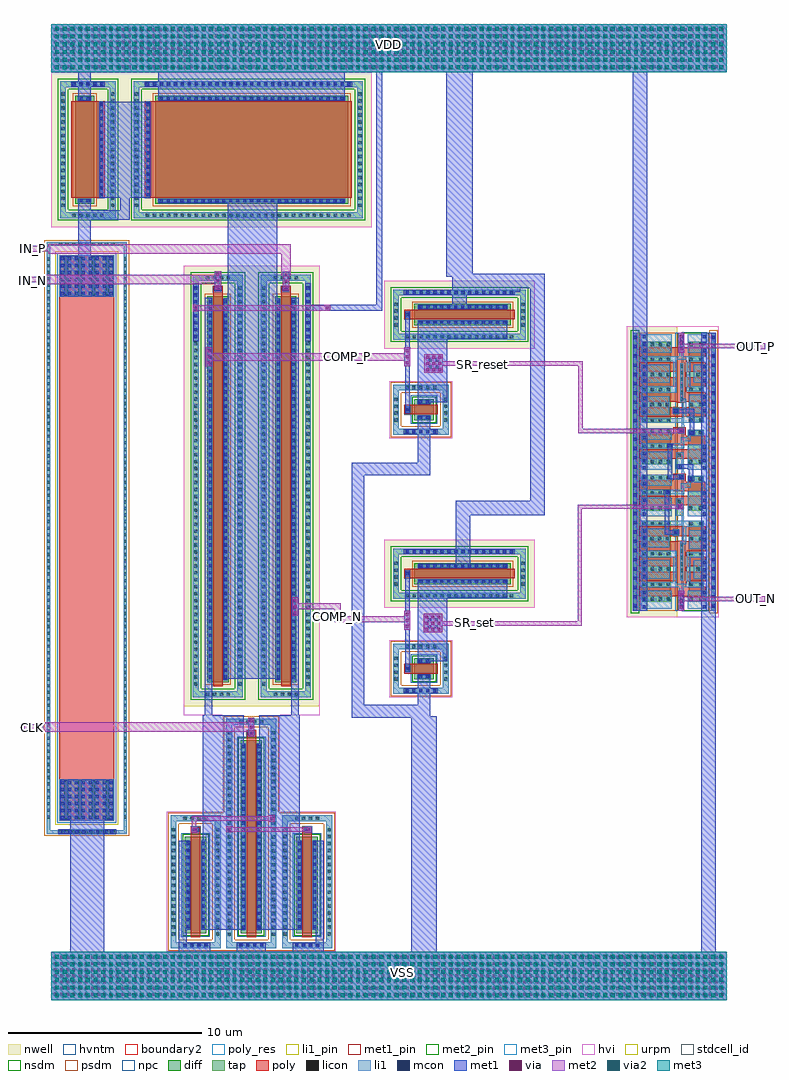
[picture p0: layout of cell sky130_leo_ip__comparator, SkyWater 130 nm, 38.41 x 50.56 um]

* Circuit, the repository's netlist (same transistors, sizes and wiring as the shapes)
* NGSPICE file created from sky130_leo_ip__comparator.ext - technology: sky130A

.subckt pfet a_60_n40# w_n242_n247# a_160_0# a_0_0#
X0 a_160_0# a_60_n40# a_0_0# w_n242_n247# sky130_fd_pr__pfet_g5v0d10v5 ad=6 pd=40.6 as=6 ps=40.6 w=20 l=0.5
.ends

.subckt sky130_fd_sc_hvl__buf_4 A X VPB VPWR VNB VGND
X0 a_149_81# A VPWR VPB sky130_fd_pr__pfet_g5v0d10v5 ad=0.4275 pd=3.57 as=0.21 ps=1.78 w=1.5 l=0.5
X1 VGND a_149_81# X VNB sky130_fd_pr__nfet_g5v0d10v5 ad=0.105 pd=1.03 as=0.105 ps=1.03 w=0.75 l=0.5
X2 X a_149_81# VGND VNB sky130_fd_pr__nfet_g5v0d10v5 ad=0.105 pd=1.03 as=0.21375 ps=2.07 w=0.75 l=0.5
X3 X a_149_81# VGND VNB sky130_fd_pr__nfet_g5v0d10v5 ad=0.105 pd=1.03 as=0.105 ps=1.03 w=0.75 l=0.5
X4 VPWR a_149_81# X VPB sky130_fd_pr__pfet_g5v0d10v5 ad=0.21 pd=1.78 as=0.21 ps=1.78 w=1.5 l=0.5
X5 a_149_81# A VGND VNB sky130_fd_pr__nfet_g5v0d10v5 ad=0.21375 pd=2.07 as=0.105 ps=1.03 w=0.75 l=0.5
X6 VPWR a_149_81# X VPB sky130_fd_pr__pfet_g5v0d10v5 ad=0.21 pd=1.78 as=0.21 ps=1.78 w=1.5 l=0.5
X7 X a_149_81# VPWR VPB sky130_fd_pr__pfet_g5v0d10v5 ad=0.21 pd=1.78 as=0.4275 ps=3.57 w=1.5 l=0.5
X8 X a_149_81# VPWR VPB sky130_fd_pr__pfet_g5v0d10v5 ad=0.21 pd=1.78 as=0.21 ps=1.78 w=1.5 l=0.5
X9 VGND a_149_81# X VNB sky130_fd_pr__nfet_g5v0d10v5 ad=0.105 pd=1.03 as=0.105 ps=1.03 w=0.75 l=0.5
.ends

.subckt res_poly$1 a_n285_2496# a_n415_n3062# a_n285_n2932#
X0 a_n285_2496# a_n285_n2932# a_n415_n3062# sky130_fd_pr__res_xhigh_po_2p85 l=25.12
.ends

.subckt pfet$10 a_60_n40# w_n242_n247# a_1060_0# a_0_0#
X0 a_1060_0# a_60_n40# a_0_0# w_n242_n247# sky130_fd_pr__pfet_g5v0d10v5 ad=3 pd=20.6 as=3 ps=20.6 w=10 l=5
.ends

.subckt nfet$5 a_60_n40# a_160_0# a_0_0# a_n149_n154#
X0 a_160_0# a_60_n40# a_0_0# a_n149_n154# sky130_fd_pr__nfet_g5v0d10v5 ad=0.3 pd=2.6 as=0.3 ps=2.6 w=1 l=0.5
.ends

.subckt pfet$9 a_60_n40# w_n242_n247# a_1060_0# a_0_0#
X0 a_1060_0# a_60_n40# a_0_0# w_n242_n247# sky130_fd_pr__pfet_g5v0d10v5 ad=0.3 pd=2.6 as=0.3 ps=2.6 w=1 l=5
.ends

.subckt sky130_fd_sc_hvl__buf_4$VAR1 A X VPB VPWR VNB VGND
X0 a_149_81# A VPWR VPB sky130_fd_pr__pfet_g5v0d10v5 ad=0.4275 pd=3.57 as=0.21 ps=1.78 w=1.5 l=0.5
X1 VGND a_149_81# X VNB sky130_fd_pr__nfet_g5v0d10v5 ad=0.105 pd=1.03 as=0.105 ps=1.03 w=0.75 l=0.5
X2 X a_149_81# VGND VNB sky130_fd_pr__nfet_g5v0d10v5 ad=0.105 pd=1.03 as=0.21375 ps=2.07 w=0.75 l=0.5
X3 X a_149_81# VGND VNB sky130_fd_pr__nfet_g5v0d10v5 ad=0.105 pd=1.03 as=0.105 ps=1.03 w=0.75 l=0.5
X4 VPWR a_149_81# X VPB sky130_fd_pr__pfet_g5v0d10v5 ad=0.21 pd=1.78 as=0.21 ps=1.78 w=1.5 l=0.5
X5 a_149_81# A VGND VNB sky130_fd_pr__nfet_g5v0d10v5 ad=0.21375 pd=2.07 as=0.105 ps=1.03 w=0.75 l=0.5
X6 VPWR a_149_81# X VPB sky130_fd_pr__pfet_g5v0d10v5 ad=0.21 pd=1.78 as=0.21 ps=1.78 w=1.5 l=0.5
X7 X a_149_81# VPWR VPB sky130_fd_pr__pfet_g5v0d10v5 ad=0.21 pd=1.78 as=0.4275 ps=3.57 w=1.5 l=0.5
X8 X a_149_81# VPWR VPB sky130_fd_pr__pfet_g5v0d10v5 ad=0.21 pd=1.78 as=0.21 ps=1.78 w=1.5 l=0.5
X9 VGND a_149_81# X VNB sky130_fd_pr__nfet_g5v0d10v5 ad=0.105 pd=1.03 as=0.105 ps=1.03 w=0.75 l=0.5
.ends

.subckt nfet a_60_n40# a_160_0# a_0_0# a_n149_n154#
X0 a_160_0# a_60_n40# a_0_0# a_n149_n154# sky130_fd_pr__nfet_g5v0d10v5 ad=3 pd=20.6 as=3 ps=20.6 w=10 l=0.5
.ends

.subckt pfet$5 a_60_n40# w_n242_n247# a_160_0# a_0_0#
X0 a_160_0# a_60_n40# a_0_0# w_n242_n247# sky130_fd_pr__pfet_g5v0d10v5 ad=1.5 pd=10.6 as=1.5 ps=10.6 w=5 l=0.5
.ends

.subckt nfet$4 a_60_n40# a_160_0# a_0_0# a_n149_n154#
X0 a_160_0# a_60_n40# a_0_0# a_n149_n154# sky130_fd_pr__nfet_g5v0d10v5 ad=1.5 pd=10.6 as=1.5 ps=10.6 w=5 l=0.5
.ends

.subckt sky130_fd_sc_hvl__nand2_1 B Y A VPB VPWR VNB VGND
X0 a_233_111# B VGND VNB sky130_fd_pr__nfet_g5v0d10v5 ad=0.07875 pd=0.96 as=0.21375 ps=2.07 w=0.75 l=0.5
X1 Y A a_233_111# VNB sky130_fd_pr__nfet_g5v0d10v5 ad=0.21375 pd=2.07 as=0.07875 ps=0.96 w=0.75 l=0.5
X2 VPWR A Y VPB sky130_fd_pr__pfet_g5v0d10v5 ad=0.4275 pd=3.57 as=0.21 ps=1.78 w=1.5 l=0.5
X3 Y B VPWR VPB sky130_fd_pr__pfet_g5v0d10v5 ad=0.21 pd=1.78 as=0.4275 ps=3.57 w=1.5 l=0.5
.ends

.subckt sky130_leo_ip__comparator VDD IN_P OUT_P IN_N VSS CLK OUT_N
Xpfet_0 IN_P VDD COMP_N m1_1831_3328# pfet
Xpfet_1 IN_N VDD m1_1831_3328# m1_1572_726# pfet
Xsky130_fd_sc_hvl__buf_4_0 sky130_fd_sc_hvl__buf_4_0/A OUT_P VDD VDD VSS VSS sky130_fd_sc_hvl__buf_4
Xres_poly$1_0 m1_282_7668# VSS VSS res_poly$1
Xpfet$10_0 m1_282_7668# VDD VDD m1_1831_3328# pfet$10
Xnfet$5_0 COMP_N SR_set VSS VSS nfet$5
Xnfet$5_1 m1_1572_726# SR_reset VSS VSS nfet$5
Xpfet$9_0 m1_282_7668# VDD m1_282_7668# VDD pfet$9
Xsky130_fd_sc_hvl__buf_4$VAR1_0 sky130_fd_sc_hvl__nand2_1_1/B OUT_N VDD VDD VSS VSS
+ sky130_fd_sc_hvl__buf_4$VAR1
Xnfet_0 CLK COMP_N m1_1572_726# VSS nfet
Xpfet$5_0 COMP_N VDD VDD SR_set pfet$5
Xpfet$5_1 m1_1572_726# VDD VDD SR_reset pfet$5
Xnfet$4_0 COMP_N m1_1572_726# VSS VSS nfet$4
Xsky130_fd_sc_hvl__nand2_1_0 SR_set sky130_fd_sc_hvl__nand2_1_1/B sky130_fd_sc_hvl__buf_4_0/A
+ VDD VDD VSS VSS sky130_fd_sc_hvl__nand2_1
Xnfet$4_1 m1_1572_726# VSS COMP_N VSS nfet$4
Xsky130_fd_sc_hvl__nand2_1_1 sky130_fd_sc_hvl__nand2_1_1/B sky130_fd_sc_hvl__buf_4_0/A
+ SR_reset VDD VDD VSS VSS sky130_fd_sc_hvl__nand2_1
.ends

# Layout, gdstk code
from math import pi, radians
import gdstk
lib = gdstk.Library(unit=1e-6, precision=1e-09)
def R(c, l, rs):  # rectangles x0, y0, x1, y1
    for r in rs: c.add(gdstk.rectangle(r[:2], r[2:], *l))
def A(c, l, x, y, w, h, nx, ny, dx, dy):  # array of equal rectangles
    R(c, l, [(x+i*dx, y+j*dy, x+i*dx+w, y+j*dy+h) for i in range(nx) for j in range(ny)])
def P(c, l, *ps):  # polygons
    for p in ps: c.add(gdstk.Polygon(p, *l))
nwell = (64, 20)
diff = (65, 20)
tap = (65, 44)
poly_res = (66, 13)
poly = (66, 20)
licon = (66, 44)
li1_pin = (67, 16)
li1 = (67, 20)
mcon = (67, 44)
met1_pin = (68, 16)
met1 = (68, 20)
via = (68, 44)
met2_pin = (69, 16)
met2 = (69, 20)
via2 = (69, 44)
met3_pin = (70, 16)
met3 = (70, 20)
hvi = (75, 20)
urpm = (79, 20)
stdcell_id = (81, 4)
nsdm = (93, 44)
psdm = (94, 20)
npc = (95, 20)
hvntm = (125, 20)
boundary2 = (236, 0)

sky130_fd_sc_hvl__nand2_ = lib.new_cell('sky130_fd_sc_hvl__nand2_1')
R(sky130_fd_sc_hvl__nand2_, nwell, [(-0.33,1.885,2.73,4.485)])
R(sky130_fd_sc_hvl__nand2_, diff, [(0.38,0.555,2.16,1.305), (0.38,2.215,2.23,3.715)])
R(sky130_fd_sc_hvl__nand2_, tap, [(0,-0.085,2.4,0.085), (0,3.985,2.4,4.155)])
R(sky130_fd_sc_hvl__nand2_, poly, [(0.665,0.425,1.165,3.845)])
P(sky130_fd_sc_hvl__nand2_, poly, [(1.375,0.425),(1.375,2.085),(1.445,2.085),(1.445,3.845),(1.945,3.845),(1.945,2.085),(2.295,2.085),(2.295,1.435),(1.875,1.435),(1.875,0.425)])
A(sky130_fd_sc_hvl__nand2_, licon, 0.155, -0.085, 0.17, 0.17, 5, 2, 0.48, 4.07)
A(sky130_fd_sc_hvl__nand2_, licon, 0.44, 2.255, 0.17, 0.17, 3, 2, 0.78, 0.415)
A(sky130_fd_sc_hvl__nand2_, licon, 0.44, 3.09, 0.17, 0.17, 3, 2, 0.78, 0.415)
R(sky130_fd_sc_hvl__nand2_, licon, [(0.44,0.595,0.61,0.765), (1.93,0.595,2.1,0.765), (0.44,1.095,0.61,1.265), (1.93,1.095,2.1,1.265), (2.025,1.605,2.195,1.775), (0.765,1.685,0.935,1.855)])
R(sky130_fd_sc_hvl__nand2_, li1_pin, [(1.595,1.21,1.765,1.38), (0.155,1.58,0.325,1.75), (0.635,1.58,0.805,1.75), (2.075,1.58,2.245,1.75)])
R(sky130_fd_sc_hvl__nand2_, li1, [(0,-0.085,2.4,0.085), (0.09,0.365,1.4,1.345), (1.975,1.525,2.275,1.855), (0.125,1.55,1.015,1.935), (0.09,2.175,1.04,3.755), (1.66,2.175,2.25,3.755), (0,3.985,2.4,4.155)])
P(sky130_fd_sc_hvl__nand2_, li1, [(1.85,0.515),(1.85,1.175),(1.58,1.175),(1.58,1.525),(1.22,1.525),(1.22,3.755),(1.47,3.755),(1.47,1.695),(1.795,1.695),(1.795,1.345),(2.18,1.345),(2.18,0.515)])
A(sky130_fd_sc_hvl__nand2_, mcon, 0.12, 0.395, 0.17, 0.17, 4, 1, 0.36, 0)
A(sky130_fd_sc_hvl__nand2_, mcon, 0.12, 3.505, 0.17, 0.17, 3, 1, 0.36, 0)
R(sky130_fd_sc_hvl__nand2_, mcon, [(0.155,-0.085,0.325,0.085), (0.155,-0.085,0.325,0.085), (0.635,-0.085,0.805,0.085), (0.635,-0.085,0.805,0.085), (1.115,-0.085,1.285,0.085), (1.115,-0.085,1.285,0.085), (1.595,-0.085,1.765,0.085), (1.595,-0.085,1.765,0.085), (2.075,-0.085,2.245,0.085), (2.075,-0.085,2.245,0.085), (1.69,3.505,1.86,3.675), (2.05,3.505,2.22,3.675), (0.155,3.985,0.325,4.155), (0.155,3.985,0.325,4.155), (0.635,3.985,0.805,4.155), (0.635,3.985,0.805,4.155), (1.115,3.985,1.285,4.155), (1.115,3.985,1.285,4.155), (1.595,3.985,1.765,4.155), (1.595,3.985,1.765,4.155), (2.075,3.985,2.245,4.155), (2.075,3.985,2.245,4.155)])
R(sky130_fd_sc_hvl__nand2_, met1_pin, [(0,0,2.4,0.115), (0,0.255,2.4,0.625), (0,3.445,2.4,3.815), (0,3.955,2.4,4.07)])
R(sky130_fd_sc_hvl__nand2_, met1, [(0,-0.115,2.4,0.115), (0,0.255,2.4,0.625), (0,3.445,2.4,3.815), (0,3.955,2.4,4.185)])
R(sky130_fd_sc_hvl__nand2_, hvi, [(-0.33,-0.265,2.73,4.485)])
R(sky130_fd_sc_hvl__nand2_, stdcell_id, [(0,0,2.4,4.07)])
R(sky130_fd_sc_hvl__nand2_, nsdm, [(0,0.215,2.4,1.885), (-0.13,3.855,2.53,4.285), (0,3.855,2.4,4.07)])
R(sky130_fd_sc_hvl__nand2_, psdm, [(-0.13,-0.215,2.53,0.215)])
P(sky130_fd_sc_hvl__nand2_, psdm, [(0,1.885),(0,3.855),(2.4,3.855),(2.4,1.885),(1.045,1.885),(1.045,1.965),(0.655,1.965),(0.655,1.885)])
P(sky130_fd_sc_hvl__nand2_, npc, [(1.925,1.505),(1.925,1.545),(0,1.545),(0,1.97),(2.4,1.97),(2.4,1.505)])
R(sky130_fd_sc_hvl__nand2_, hvntm, [(-0.035,0.35,2.435,1.64)])
R(sky130_fd_sc_hvl__nand2_, boundary2, [(0,0,2.4,4.07)])
sky130_fd_sc_hvl__nand2_.add(gdstk.Label('B', (0.72,1.665), layer=67, texttype=5))
sky130_fd_sc_hvl__nand2_.add(gdstk.Label('B', (0.24,1.665), layer=67, texttype=5))
sky130_fd_sc_hvl__nand2_.add(gdstk.Label('Y', (1.68,1.295), layer=67, texttype=5))
sky130_fd_sc_hvl__nand2_.add(gdstk.Label('A', (2.16,1.665), layer=67, texttype=5))
sky130_fd_sc_hvl__nand2_.add(gdstk.Label('VPB', (1.2,4.015), layer=68, texttype=5))
sky130_fd_sc_hvl__nand2_.add(gdstk.Label('VPWR', (1.2,3.63), layer=68, texttype=5))
sky130_fd_sc_hvl__nand2_.add(gdstk.Label('VNB', (1.2,0.06), layer=68, texttype=5))
sky130_fd_sc_hvl__nand2_.add(gdstk.Label('VGND', (1.2,0.44), layer=68, texttype=5))
sky130_fd_sc_hvl__nand2_.add(gdstk.Label('nand2_1', (0,0), layer=83, texttype=44))

sky130_fd_sc_hvl__buf_4_ = lib.new_cell('sky130_fd_sc_hvl__buf_4$VAR1')
R(sky130_fd_sc_hvl__buf_4_, nwell, [(-0.33,1.885,5.13,4.485)])
R(sky130_fd_sc_hvl__buf_4_, diff, [(0.46,0.535,4.65,1.285), (0.46,2.215,4.65,3.715)])
R(sky130_fd_sc_hvl__buf_4_, tap, [(0,-0.085,4.8,0.085), (0,3.985,4.8,4.155)])
R(sky130_fd_sc_hvl__buf_4_, poly, [(3.865,0.405,4.365,3.845)])
P(sky130_fd_sc_hvl__buf_4_, poly, [(0.745,0.405),(0.745,3.845),(1.245,3.845),(1.245,1.915),(1.525,1.915),(1.525,3.845),(2.025,3.845),(2.025,1.915),(2.305,1.915),(2.305,3.845),(2.805,3.845),(2.805,1.915),(3.085,1.915),(3.085,3.845),(3.585,3.845),(3.585,1.915),(3.62,1.915),(3.62,1.415),(3.585,1.415),(3.585,0.405),(3.085,0.405),(3.085,1.415),(2.805,1.415),(2.805,0.405),(2.305,0.405),(2.305,1.415),(2.025,1.415),(2.025,0.405),(1.525,0.405),(1.525,1.415),(1.245,1.415),(1.245,0.405)])
A(sky130_fd_sc_hvl__buf_4_, licon, 0.155, -0.085, 0.17, 0.17, 10, 2, 0.48, 4.07)
A(sky130_fd_sc_hvl__buf_4_, licon, 2.86, 0.575, 0.17, 0.17, 3, 2, 0.78, 0.5)
A(sky130_fd_sc_hvl__buf_4_, licon, 1.65, 1.555, 0.17, 0.17, 6, 1, 0.34, 0)
A(sky130_fd_sc_hvl__buf_4_, licon, 0.52, 2.255, 0.17, 0.17, 4, 2, 0.78, 0.415)
A(sky130_fd_sc_hvl__buf_4_, licon, 0.52, 3.09, 0.17, 0.17, 4, 1, 0.78, 0)
A(sky130_fd_sc_hvl__buf_4_, licon, 0.52, 3.505, 0.17, 0.17, 6, 1, 0.78, 0)
R(sky130_fd_sc_hvl__buf_4_, licon, [(0.52,0.575,0.69,0.745), (1.3,0.575,1.47,0.745), (2.08,0.715,2.25,0.885), (0.52,1.075,0.69,1.245), (1.3,1.075,1.47,1.245), (3.965,1.805,4.135,1.975), (4.42,2.255,4.59,2.425), (3.64,2.3,3.81,2.47), (4.42,2.67,4.59,2.84), (3.64,2.7,3.81,2.87), (4.42,3.09,4.59,3.26), (3.64,3.105,3.81,3.275)])
R(sky130_fd_sc_hvl__buf_4_, li1_pin, [(0.155,1.58,0.325,1.75), (0.635,1.58,0.805,1.75), (3.995,1.95,4.165,2.12)])
R(sky130_fd_sc_hvl__buf_4_, li1, [(0,-0.085,4.8,0.085), (0.09,0.365,1.04,1.325), (1.65,0.365,2.6,1.025), (3.21,0.365,4.16,1.245), (3.885,1.775,4.215,2.12), (0.09,2.175,1.04,3.755), (1.65,2.255,2.6,3.755), (3.29,2.3,4.24,3.755), (0,3.985,4.8,4.155)])
P(sky130_fd_sc_hvl__buf_4_, li1, [(4.34,0.495),(4.34,1.425),(3.43,1.425),(3.43,1.555),(1.57,1.555),(1.57,1.725),(3.6,1.725),(3.6,1.595),(4.42,1.595),(4.42,3.755),(4.67,3.755),(4.67,0.495)],
  [(1.22,0.495),(1.22,1.55),(0.125,1.55),(0.125,1.78),(1.22,1.78),(1.22,3.755),(1.47,3.755),(1.47,2.075),(2.78,2.075),(2.78,3.755),(3.11,3.755),(3.11,1.905),(1.39,1.905),(1.39,1.375),(3.03,1.375),(3.03,0.495),(2.78,0.495),(2.78,1.205),(1.47,1.205),(1.47,0.495)])
A(sky130_fd_sc_hvl__buf_4_, mcon, 0.12, 0.395, 0.17, 0.17, 3, 2, 0.36, 3.11)
A(sky130_fd_sc_hvl__buf_4_, mcon, 1.68, 0.395, 0.17, 0.17, 3, 2, 0.36, 3.11)
A(sky130_fd_sc_hvl__buf_4_, mcon, 3.24, 0.395, 0.17, 0.17, 3, 1, 0.36, 0)
A(sky130_fd_sc_hvl__buf_4_, mcon, 3.32, 3.505, 0.17, 0.17, 3, 1, 0.36, 0)
R(sky130_fd_sc_hvl__buf_4_, mcon, [(0.155,-0.085,0.325,0.085), (0.155,-0.085,0.325,0.085), (0.635,-0.085,0.805,0.085), (0.635,-0.085,0.805,0.085), (1.115,-0.085,1.285,0.085), (1.115,-0.085,1.285,0.085), (1.595,-0.085,1.765,0.085), (1.595,-0.085,1.765,0.085), (2.075,-0.085,2.245,0.085), (2.075,-0.085,2.245,0.085), (2.555,-0.085,2.725,0.085), (2.555,-0.085,2.725,0.085), (3.035,-0.085,3.205,0.085), (3.035,-0.085,3.205,0.085), (3.515,-0.085,3.685,0.085), (3.515,-0.085,3.685,0.085), (3.995,-0.085,4.165,0.085), (3.995,-0.085,4.165,0.085), (4.475,-0.085,4.645,0.085), (4.475,-0.085,4.645,0.085), (0.155,3.985,0.325,4.155), (0.155,3.985,0.325,4.155), (0.635,3.985,0.805,4.155), (0.635,3.985,0.805,4.155), (1.115,3.985,1.285,4.155), (1.115,3.985,1.285,4.155), (1.595,3.985,1.765,4.155), (1.595,3.985,1.765,4.155), (2.075,3.985,2.245,4.155), (2.075,3.985,2.245,4.155), (2.555,3.985,2.725,4.155), (2.555,3.985,2.725,4.155), (3.035,3.985,3.205,4.155), (3.035,3.985,3.205,4.155), (3.515,3.985,3.685,4.155), (3.515,3.985,3.685,4.155), (3.995,3.985,4.165,4.155), (3.995,3.985,4.165,4.155), (4.475,3.985,4.645,4.155), (4.475,3.985,4.645,4.155)])
R(sky130_fd_sc_hvl__buf_4_, met1_pin, [(0,0,4.8,0.115), (0,0.255,4.8,0.625), (0,3.445,4.8,3.815), (0,3.955,4.8,4.07)])
R(sky130_fd_sc_hvl__buf_4_, met1, [(0,-0.115,4.8,0.115), (0,0.255,4.8,0.625), (0,3.445,4.8,3.815), (0,3.955,4.8,4.185)])
R(sky130_fd_sc_hvl__buf_4_, hvi, [(-0.33,-0.265,5.13,4.485)])
R(sky130_fd_sc_hvl__buf_4_, stdcell_id, [(0,0,4.8,4.07)])
R(sky130_fd_sc_hvl__buf_4_, nsdm, [(0,0.215,4.8,1.885), (-0.13,3.855,4.93,4.285), (0,3.855,4.8,4.07)])
R(sky130_fd_sc_hvl__buf_4_, psdm, [(-0.13,-0.215,4.93,0.215)])
P(sky130_fd_sc_hvl__buf_4_, psdm, [(0,1.885),(0,3.855),(4.8,3.855),(4.8,1.885),(4.245,1.885),(4.245,2.085),(3.855,2.085),(3.855,1.885)])
P(sky130_fd_sc_hvl__buf_4_, npc, [(1.55,1.455),(1.55,1.545),(0,1.545),(0,1.97),(3.865,1.97),(3.865,2.075),(4.235,2.075),(4.235,1.97),(4.8,1.97),(4.8,1.545),(3.62,1.545),(3.62,1.455)])
R(sky130_fd_sc_hvl__buf_4_, hvntm, [(-0.035,0.35,4.835,1.64)])
R(sky130_fd_sc_hvl__buf_4_, boundary2, [(0,0,4.8,4.07)])
sky130_fd_sc_hvl__buf_4_.add(gdstk.Label('A', (4.08,2.035), layer=67, texttype=5))
sky130_fd_sc_hvl__buf_4_.add(gdstk.Label('X', (0.72,1.665), layer=67, texttype=5))
sky130_fd_sc_hvl__buf_4_.add(gdstk.Label('X', (0.24,1.665), layer=67, texttype=5))
sky130_fd_sc_hvl__buf_4_.add(gdstk.Label('VPB', (2.4,4.015), layer=68, texttype=5))
sky130_fd_sc_hvl__buf_4_.add(gdstk.Label('VPWR', (2.4,3.63), layer=68, texttype=5))
sky130_fd_sc_hvl__buf_4_.add(gdstk.Label('VNB', (2.4,0.06), layer=68, texttype=5))
sky130_fd_sc_hvl__buf_4_.add(gdstk.Label('VGND', (2.4,0.44), layer=68, texttype=5))
sky130_fd_sc_hvl__buf_4_.add(gdstk.Label('buf_4', (0,0), layer=83, texttype=44))

sky130_fd_sc_hvl__buf_4 = lib.new_cell('sky130_fd_sc_hvl__buf_4')
R(sky130_fd_sc_hvl__buf_4, nwell, [(-0.33,1.885,5.13,4.485)])
R(sky130_fd_sc_hvl__buf_4, diff, [(0.46,0.535,4.65,1.285), (0.46,2.215,4.65,3.715)])
R(sky130_fd_sc_hvl__buf_4, tap, [(0,-0.085,4.8,0.085), (0,3.985,4.8,4.155)])
R(sky130_fd_sc_hvl__buf_4, poly, [(3.865,0.405,4.365,3.845)])
P(sky130_fd_sc_hvl__buf_4, poly, [(0.745,0.405),(0.745,3.845),(1.245,3.845),(1.245,1.915),(1.525,1.915),(1.525,3.845),(2.025,3.845),(2.025,1.915),(2.305,1.915),(2.305,3.845),(2.805,3.845),(2.805,1.915),(3.085,1.915),(3.085,3.845),(3.585,3.845),(3.585,1.915),(3.62,1.915),(3.62,1.415),(3.585,1.415),(3.585,0.405),(3.085,0.405),(3.085,1.415),(2.805,1.415),(2.805,0.405),(2.305,0.405),(2.305,1.415),(2.025,1.415),(2.025,0.405),(1.525,0.405),(1.525,1.415),(1.245,1.415),(1.245,0.405)])
A(sky130_fd_sc_hvl__buf_4, licon, 0.155, -0.085, 0.17, 0.17, 10, 2, 0.48, 4.07)
A(sky130_fd_sc_hvl__buf_4, licon, 2.86, 0.575, 0.17, 0.17, 3, 2, 0.78, 0.5)
A(sky130_fd_sc_hvl__buf_4, licon, 1.65, 1.555, 0.17, 0.17, 6, 1, 0.34, 0)
A(sky130_fd_sc_hvl__buf_4, licon, 0.52, 2.255, 0.17, 0.17, 4, 2, 0.78, 0.415)
A(sky130_fd_sc_hvl__buf_4, licon, 0.52, 3.09, 0.17, 0.17, 4, 1, 0.78, 0)
A(sky130_fd_sc_hvl__buf_4, licon, 0.52, 3.505, 0.17, 0.17, 6, 1, 0.78, 0)
R(sky130_fd_sc_hvl__buf_4, licon, [(0.52,0.575,0.69,0.745), (1.3,0.575,1.47,0.745), (2.08,0.715,2.25,0.885), (0.52,1.075,0.69,1.245), (1.3,1.075,1.47,1.245), (3.965,1.805,4.135,1.975), (4.42,2.255,4.59,2.425), (3.64,2.3,3.81,2.47), (4.42,2.67,4.59,2.84), (3.64,2.7,3.81,2.87), (4.42,3.09,4.59,3.26), (3.64,3.105,3.81,3.275)])
R(sky130_fd_sc_hvl__buf_4, li1_pin, [(0.155,1.58,0.325,1.75), (0.635,1.58,0.805,1.75), (3.995,1.95,4.165,2.12)])
R(sky130_fd_sc_hvl__buf_4, li1, [(0,-0.085,4.8,0.085), (0.09,0.365,1.04,1.325), (1.65,0.365,2.6,1.025), (3.21,0.365,4.16,1.245), (3.885,1.775,4.215,2.12), (0.09,2.175,1.04,3.755), (1.65,2.255,2.6,3.755), (3.29,2.3,4.24,3.755), (0,3.985,4.8,4.155)])
P(sky130_fd_sc_hvl__buf_4, li1, [(4.34,0.495),(4.34,1.425),(3.43,1.425),(3.43,1.555),(1.57,1.555),(1.57,1.725),(3.6,1.725),(3.6,1.595),(4.42,1.595),(4.42,3.755),(4.67,3.755),(4.67,0.495)],
  [(1.22,0.495),(1.22,1.55),(0.125,1.55),(0.125,1.78),(1.22,1.78),(1.22,3.755),(1.47,3.755),(1.47,2.075),(2.78,2.075),(2.78,3.755),(3.11,3.755),(3.11,1.905),(1.39,1.905),(1.39,1.375),(3.03,1.375),(3.03,0.495),(2.78,0.495),(2.78,1.205),(1.47,1.205),(1.47,0.495)])
A(sky130_fd_sc_hvl__buf_4, mcon, 0.12, 0.395, 0.17, 0.17, 3, 2, 0.36, 3.11)
A(sky130_fd_sc_hvl__buf_4, mcon, 1.68, 0.395, 0.17, 0.17, 3, 2, 0.36, 3.11)
A(sky130_fd_sc_hvl__buf_4, mcon, 3.24, 0.395, 0.17, 0.17, 3, 1, 0.36, 0)
A(sky130_fd_sc_hvl__buf_4, mcon, 3.32, 3.505, 0.17, 0.17, 3, 1, 0.36, 0)
R(sky130_fd_sc_hvl__buf_4, mcon, [(0.155,-0.085,0.325,0.085), (0.155,-0.085,0.325,0.085), (0.635,-0.085,0.805,0.085), (0.635,-0.085,0.805,0.085), (1.115,-0.085,1.285,0.085), (1.115,-0.085,1.285,0.085), (1.595,-0.085,1.765,0.085), (1.595,-0.085,1.765,0.085), (2.075,-0.085,2.245,0.085), (2.075,-0.085,2.245,0.085), (2.555,-0.085,2.725,0.085), (2.555,-0.085,2.725,0.085), (3.035,-0.085,3.205,0.085), (3.035,-0.085,3.205,0.085), (3.515,-0.085,3.685,0.085), (3.515,-0.085,3.685,0.085), (3.995,-0.085,4.165,0.085), (3.995,-0.085,4.165,0.085), (4.475,-0.085,4.645,0.085), (4.475,-0.085,4.645,0.085), (0.155,3.985,0.325,4.155), (0.155,3.985,0.325,4.155), (0.635,3.985,0.805,4.155), (0.635,3.985,0.805,4.155), (1.115,3.985,1.285,4.155), (1.115,3.985,1.285,4.155), (1.595,3.985,1.765,4.155), (1.595,3.985,1.765,4.155), (2.075,3.985,2.245,4.155), (2.075,3.985,2.245,4.155), (2.555,3.985,2.725,4.155), (2.555,3.985,2.725,4.155), (3.035,3.985,3.205,4.155), (3.035,3.985,3.205,4.155), (3.515,3.985,3.685,4.155), (3.515,3.985,3.685,4.155), (3.995,3.985,4.165,4.155), (3.995,3.985,4.165,4.155), (4.475,3.985,4.645,4.155), (4.475,3.985,4.645,4.155)])
R(sky130_fd_sc_hvl__buf_4, met1_pin, [(0,0,4.8,0.115), (0,0.255,4.8,0.625), (0,3.445,4.8,3.815), (0,3.955,4.8,4.07)])
R(sky130_fd_sc_hvl__buf_4, met1, [(0,-0.115,4.8,0.115), (0,0.255,4.8,0.625), (0,3.445,4.8,3.815), (0,3.955,4.8,4.185)])
R(sky130_fd_sc_hvl__buf_4, hvi, [(-0.33,-0.265,5.13,4.485)])
R(sky130_fd_sc_hvl__buf_4, stdcell_id, [(0,0,4.8,4.07)])
R(sky130_fd_sc_hvl__buf_4, nsdm, [(0,0.215,4.8,1.885), (-0.13,3.855,4.93,4.285), (0,3.855,4.8,4.07)])
R(sky130_fd_sc_hvl__buf_4, psdm, [(-0.13,-0.215,4.93,0.215)])
P(sky130_fd_sc_hvl__buf_4, psdm, [(0,1.885),(0,3.855),(4.8,3.855),(4.8,1.885),(4.245,1.885),(4.245,2.085),(3.855,2.085),(3.855,1.885)])
P(sky130_fd_sc_hvl__buf_4, npc, [(1.55,1.455),(1.55,1.545),(0,1.545),(0,1.97),(3.865,1.97),(3.865,2.075),(4.235,2.075),(4.235,1.97),(4.8,1.97),(4.8,1.545),(3.62,1.545),(3.62,1.455)])
R(sky130_fd_sc_hvl__buf_4, hvntm, [(-0.035,0.35,4.835,1.64)])
R(sky130_fd_sc_hvl__buf_4, boundary2, [(0,0,4.8,4.07)])
sky130_fd_sc_hvl__buf_4.add(gdstk.Label('A', (4.08,2.035), layer=67, texttype=5))
sky130_fd_sc_hvl__buf_4.add(gdstk.Label('X', (0.72,1.665), layer=67, texttype=5))
sky130_fd_sc_hvl__buf_4.add(gdstk.Label('X', (0.24,1.665), layer=67, texttype=5))
sky130_fd_sc_hvl__buf_4.add(gdstk.Label('VPB', (2.4,4.015), layer=68, texttype=5))
sky130_fd_sc_hvl__buf_4.add(gdstk.Label('VPWR', (2.4,3.63), layer=68, texttype=5))
sky130_fd_sc_hvl__buf_4.add(gdstk.Label('VNB', (2.4,0.06), layer=68, texttype=5))
sky130_fd_sc_hvl__buf_4.add(gdstk.Label('VGND', (2.4,0.44), layer=68, texttype=5))
sky130_fd_sc_hvl__buf_4.add(gdstk.Label('buf_4', (0,0), layer=83, texttype=44))

vias_gen_17 = lib.new_cell('vias_gen$17')
R(vias_gen_17, li1, [(0,0,3,0.26)])
A(vias_gen_17, mcon, 0.155, 0.045, 0.17, 0.17, 8, 1, 0.36, 0)
R(vias_gen_17, met1, [(0,0,3,0.26)])

vias_gen_16 = lib.new_cell('vias_gen$16')
R(vias_gen_16, li1, [(0,0,0.29,3)])
A(vias_gen_16, mcon, 0.06, 0.155, 0.17, 0.17, 1, 8, 0, 0.36)
R(vias_gen_16, met1, [(0,0,0.29,3)])

vias_gen_10 = lib.new_cell('vias_gen$10')
R(vias_gen_10, li1, [(0,0,1.75,0.26)])
A(vias_gen_10, mcon, 0.07, 0.045, 0.17, 0.17, 5, 1, 0.36, 0)
R(vias_gen_10, met1, [(0,0,1.75,0.26)])

vias_gen_15 = lib.new_cell('vias_gen$15')
R(vias_gen_15, li1, [(0,0,5.75,0.26)])
A(vias_gen_15, mcon, 0.09, 0.045, 0.17, 0.17, 16, 1, 0.36, 0)
R(vias_gen_15, met1, [(0,0,5.75,0.26)])

vias_gen_14 = lib.new_cell('vias_gen$14')
R(vias_gen_14, li1, [(0,0,1.5,0.26)])
A(vias_gen_14, mcon, 0.125, 0.045, 0.17, 0.17, 4, 1, 0.36, 0)
R(vias_gen_14, met1, [(0,0,1.5,0.26)])

vias_gen_12 = lib.new_cell('vias_gen$12')
R(vias_gen_12, li1, [(0,0,10.75,0.26)])
A(vias_gen_12, mcon, 0.07, 0.045, 0.17, 0.17, 30, 1, 0.36, 0)
R(vias_gen_12, met1, [(0,0,10.75,0.26)])

vias_gen = lib.new_cell('vias_gen')
R(vias_gen, li1, [(0,0,0.29,0.23)])
R(vias_gen, mcon, [(0.06,0.03,0.23,0.2)])
R(vias_gen, met1, [(0,0,0.29,0.23)])

vias_gen_9 = lib.new_cell('vias_gen$9')
R(vias_gen_9, li1, [(0,0,0.32,1.04)])
R(vias_gen_9, mcon, [(0.075,0.255,0.245,0.425), (0.075,0.615,0.245,0.785)])
R(vias_gen_9, met1, [(0,0,0.32,1.04)])
A(vias_gen_9, via, 0.085, 0.125, 0.15, 0.15, 1, 3, 0, 0.32)
R(vias_gen_9, met2, [(0,0,0.32,1.04)])

vias_gen_7 = lib.new_cell('vias_gen$7')
R(vias_gen_7, li1, [(0,0,0.32,0.26)])
R(vias_gen_7, mcon, [(0.075,0.045,0.245,0.215)])
R(vias_gen_7, met1, [(0,0,0.32,0.26)])

vias_gen_4 = lib.new_cell('vias_gen$4')
R(vias_gen_4, li1, [(0,0,0.32,0.26)])
R(vias_gen_4, mcon, [(0.075,0.045,0.245,0.215)])
R(vias_gen_4, met1, [(0,0,0.32,0.26)])
R(vias_gen_4, via, [(0.085,0.055,0.235,0.205)])
R(vias_gen_4, met2, [(0,0,0.32,0.26)])

vias_gen_2 = lib.new_cell('vias_gen$2')
R(vias_gen_2, met1, [(0,0,0.32,0.32)])
R(vias_gen_2, via, [(0.085,0.085,0.235,0.235)])
R(vias_gen_2, met2, [(0,0,0.32,0.32)])

vias_gen_3 = lib.new_cell('vias_gen$3')
R(vias_gen_3, met1, [(0,0,0.32,0.96)])
A(vias_gen_3, via, 0.085, 0.085, 0.15, 0.15, 1, 3, 0, 0.32)
R(vias_gen_3, met2, [(0,0,0.32,0.96)])

vias_gen_5 = lib.new_cell('vias_gen$5')
R(vias_gen_5, li1, [(0,0,0.96,0.96)])
R(vias_gen_5, mcon, [(0.215,0.215,0.385,0.385), (0.575,0.215,0.745,0.385), (0.215,0.575,0.385,0.745), (0.575,0.575,0.745,0.745)])
R(vias_gen_5, met1, [(0,0,0.96,0.96)])
A(vias_gen_5, via, 0.085, 0.085, 0.15, 0.15, 3, 3, 0.32, 0.32)
R(vias_gen_5, met2, [(0,0,0.96,0.96)])

vias_gen_8 = lib.new_cell('vias_gen$8')
R(vias_gen_8, met1, [(0,0,35,2.5)])
A(vias_gen_8, via, 0.145, 0.215, 0.15, 0.15, 109, 7, 0.32, 0.32)
R(vias_gen_8, met2, [(0,0,35,2.5)])
A(vias_gen_8, via2, 0.2, 0.15, 0.2, 0.2, 87, 6, 0.4, 0.4)
R(vias_gen_8, met3, [(0,0,35,2.5)])

pfet = lib.new_cell('pfet')
R(pfet, nwell, [(-1.21,-1.235,2.31,21.575)])
R(pfet, diff, [(0,0,1.1,20)])
P(pfet, tap, [(-0.745,-0.77),(-0.745,20.81),(-0.445,20.81),(-0.445,-0.47),(1.545,-0.47),(1.545,20.81),(-0.745,20.81),(-0.745,21.11),(1.845,21.11),(1.845,-0.77)])
R(pfet, poly, [(0.3,-0.2,0.8,20.2), (0.3,20.2,0.8,20.53)])
A(pfet, licon, -0.075, -0.705, 0.17, 0.17, 4, 2, 0.36, 21.58)
A(pfet, licon, -0.68, -0.175, 0.17, 0.17, 1, 58, 0, 0.36)
A(pfet, licon, 1.61, -0.175, 0.17, 0.17, 1, 58, 0, 0.36)
A(pfet, licon, 0.065, 0.195, 0.17, 0.17, 1, 55, 0, 0.36)
A(pfet, licon, 0.865, 0.195, 0.17, 0.17, 1, 55, 0, 0.36)
R(pfet, licon, [(0.465,20.28,0.635,20.45)])
R(pfet, li1, [(0.065,0.115,0.235,19.885), (0.865,0.115,1.035,19.885), (0.385,20.28,0.715,20.45)])
P(pfet, li1, [(-0.745,-0.77),(-0.745,20.81),(-0.445,20.81),(-0.445,-0.47),(1.545,-0.47),(1.545,20.81),(-0.745,20.81),(-0.745,21.11),(1.845,21.11),(1.845,-0.77)])
A(pfet, mcon, 0.065, 0.195, 0.17, 0.17, 1, 55, 0, 0.36)
A(pfet, mcon, 0.865, 0.195, 0.17, 0.17, 1, 55, 0, 0.36)
R(pfet, mcon, [(0.465,20.28,0.635,20.45)])
R(pfet, met1, [(0.035,0.135,0.265,19.865), (0.835,0.135,1.065,19.865), (0.365,20.25,0.735,20.48)])
R(pfet, hvi, [(-1.21,-1.235,2.31,21.575)])
P(pfet, nsdm, [(-0.87,-0.895),(-0.87,20.685),(-0.32,20.685),(-0.32,-0.345),(1.42,-0.345),(1.42,20.685),(-0.87,20.685),(-0.87,21.235),(1.97,21.235),(1.97,-0.895)])
R(pfet, psdm, [(-0.125,-0.125,1.225,20.125)])
R(pfet, npc, [(0.29,20.19,0.81,20.54)])

nfet_5 = lib.new_cell('nfet$5')
R(nfet_5, diff, [(0,0,1.1,1)])
P(nfet_5, tap, [(-0.745,-0.77),(-0.745,1.81),(-0.445,1.81),(-0.445,-0.47),(1.545,-0.47),(1.545,1.81),(-0.745,1.81),(-0.745,2.11),(1.845,2.11),(1.845,-0.77)])
R(nfet_5, poly, [(0.3,-0.2,0.8,1.2), (0.3,1.2,0.8,1.53)])
A(nfet_5, licon, -0.075, -0.705, 0.17, 0.17, 4, 2, 0.36, 2.58)
A(nfet_5, licon, -0.68, -0.135, 0.17, 0.17, 1, 5, 0, 0.36)
A(nfet_5, licon, 1.61, -0.135, 0.17, 0.17, 1, 5, 0, 0.36)
R(nfet_5, licon, [(0.065,0.235,0.235,0.405), (0.865,0.235,1.035,0.405), (0.065,0.595,0.235,0.765), (0.865,0.595,1.035,0.765), (0.465,1.28,0.635,1.45)])
R(nfet_5, li1, [(0.065,0.155,0.235,0.845), (0.865,0.155,1.035,0.845), (0.385,1.28,0.715,1.45)])
P(nfet_5, li1, [(-0.745,-0.77),(-0.745,1.81),(-0.445,1.81),(-0.445,-0.47),(1.545,-0.47),(1.545,1.81),(-0.745,1.81),(-0.745,2.11),(1.845,2.11),(1.845,-0.77)])
R(nfet_5, mcon, [(0.065,0.235,0.235,0.405), (0.865,0.235,1.035,0.405), (0.065,0.595,0.235,0.765), (0.865,0.595,1.035,0.765), (0.465,1.28,0.635,1.45)])
R(nfet_5, met1, [(0.035,0.175,0.265,0.825), (0.835,0.175,1.065,0.825), (0.365,1.25,0.735,1.48)])
R(nfet_5, hvi, [(-0.93,-0.955,2.03,2.295)])
R(nfet_5, nsdm, [(-0.125,-0.125,1.225,1.125)])
P(nfet_5, psdm, [(-0.87,-0.895),(-0.87,1.685),(-0.32,1.685),(-0.32,-0.345),(1.42,-0.345),(1.42,1.685),(-0.87,1.685),(-0.87,2.235),(1.97,2.235),(1.97,-0.895)])
R(nfet_5, npc, [(0.29,1.19,0.81,1.54)])
R(nfet_5, hvntm, [(-0.185,-0.185,1.285,1.185)])

pfet_5 = lib.new_cell('pfet$5')
R(pfet_5, nwell, [(-1.21,-1.235,2.31,6.575)])
R(pfet_5, diff, [(0,0,1.1,5)])
P(pfet_5, tap, [(-0.745,-0.77),(-0.745,5.81),(-0.445,5.81),(-0.445,-0.47),(1.545,-0.47),(1.545,5.81),(-0.745,5.81),(-0.745,6.11),(1.845,6.11),(1.845,-0.77)])
R(pfet_5, poly, [(0.3,-0.2,0.8,5.2), (0.3,5.2,0.8,5.53)])
A(pfet_5, licon, -0.075, -0.705, 0.17, 0.17, 4, 2, 0.36, 6.58)
A(pfet_5, licon, -0.68, -0.115, 0.17, 0.17, 1, 16, 0, 0.36)
A(pfet_5, licon, 1.61, -0.115, 0.17, 0.17, 1, 16, 0, 0.36)
A(pfet_5, licon, 0.065, 0.255, 0.17, 0.17, 1, 13, 0, 0.36)
A(pfet_5, licon, 0.865, 0.255, 0.17, 0.17, 1, 13, 0, 0.36)
R(pfet_5, licon, [(0.465,5.28,0.635,5.45)])
R(pfet_5, li1, [(0.065,0.175,0.235,4.825), (0.865,0.175,1.035,4.825), (0.385,5.28,0.715,5.45)])
P(pfet_5, li1, [(-0.745,-0.77),(-0.745,5.81),(-0.445,5.81),(-0.445,-0.47),(1.545,-0.47),(1.545,5.81),(-0.745,5.81),(-0.745,6.11),(1.845,6.11),(1.845,-0.77)])
A(pfet_5, mcon, 0.065, 0.255, 0.17, 0.17, 1, 13, 0, 0.36)
A(pfet_5, mcon, 0.865, 0.255, 0.17, 0.17, 1, 13, 0, 0.36)
R(pfet_5, mcon, [(0.465,5.28,0.635,5.45)])
R(pfet_5, met1, [(0.035,0.195,0.265,4.805), (0.835,0.195,1.065,4.805), (0.365,5.25,0.735,5.48)])
R(pfet_5, hvi, [(-1.21,-1.235,2.31,6.575)])
P(pfet_5, nsdm, [(-0.87,-0.895),(-0.87,5.685),(-0.32,5.685),(-0.32,-0.345),(1.42,-0.345),(1.42,5.685),(-0.87,5.685),(-0.87,6.235),(1.97,6.235),(1.97,-0.895)])
R(pfet_5, psdm, [(-0.125,-0.125,1.225,5.125)])
R(pfet_5, npc, [(0.29,5.19,0.81,5.54)])

nfet = lib.new_cell('nfet')
R(nfet, diff, [(0,0,1.1,10)])
P(nfet, tap, [(-0.745,-0.77),(-0.745,10.81),(-0.445,10.81),(-0.445,-0.47),(1.545,-0.47),(1.545,10.81),(-0.745,10.81),(-0.745,11.11),(1.845,11.11),(1.845,-0.77)])
R(nfet, poly, [(0.3,-0.2,0.8,10.2), (0.3,10.2,0.8,10.53)])
A(nfet, licon, -0.075, -0.705, 0.17, 0.17, 4, 2, 0.36, 11.58)
A(nfet, licon, -0.68, -0.135, 0.17, 0.17, 1, 30, 0, 0.36)
A(nfet, licon, 1.61, -0.135, 0.17, 0.17, 1, 30, 0, 0.36)
A(nfet, licon, 0.065, 0.235, 0.17, 0.17, 1, 27, 0, 0.36)
A(nfet, licon, 0.865, 0.235, 0.17, 0.17, 1, 27, 0, 0.36)
R(nfet, licon, [(0.465,10.28,0.635,10.45)])
R(nfet, li1, [(0.065,0.155,0.235,9.845), (0.865,0.155,1.035,9.845), (0.385,10.28,0.715,10.45)])
P(nfet, li1, [(-0.745,-0.77),(-0.745,10.81),(-0.445,10.81),(-0.445,-0.47),(1.545,-0.47),(1.545,10.81),(-0.745,10.81),(-0.745,11.11),(1.845,11.11),(1.845,-0.77)])
A(nfet, mcon, 0.065, 0.235, 0.17, 0.17, 1, 27, 0, 0.36)
A(nfet, mcon, 0.865, 0.235, 0.17, 0.17, 1, 27, 0, 0.36)
R(nfet, mcon, [(0.465,10.28,0.635,10.45)])
R(nfet, met1, [(0.035,0.175,0.265,9.825), (0.835,0.175,1.065,9.825), (0.365,10.25,0.735,10.48)])
R(nfet, hvi, [(-0.93,-0.955,2.03,11.295)])
R(nfet, nsdm, [(-0.125,-0.125,1.225,10.125)])
P(nfet, psdm, [(-0.87,-0.895),(-0.87,10.685),(-0.32,10.685),(-0.32,-0.345),(1.42,-0.345),(1.42,10.685),(-0.87,10.685),(-0.87,11.235),(1.97,11.235),(1.97,-0.895)])
R(nfet, npc, [(0.29,10.19,0.81,10.54)])
R(nfet, hvntm, [(-0.185,-0.185,1.285,10.185)])

pfet_10 = lib.new_cell('pfet$10')
R(pfet_10, nwell, [(-1.21,-1.235,6.81,11.575)])
R(pfet_10, diff, [(0,0,5.6,10)])
P(pfet_10, tap, [(-0.745,-0.77),(-0.745,10.81),(-0.445,10.81),(-0.445,-0.47),(6.045,-0.47),(6.045,10.81),(-0.745,10.81),(-0.745,11.11),(6.345,11.11),(6.345,-0.77)])
R(pfet_10, poly, [(0.3,-0.2,5.3,10.2), (0.3,10.2,5.3,10.53)])
A(pfet_10, licon, -0.165, -0.705, 0.17, 0.17, 17, 2, 0.36, 11.58)
A(pfet_10, licon, -0.68, -0.135, 0.17, 0.17, 1, 30, 0, 0.36)
A(pfet_10, licon, 6.11, -0.135, 0.17, 0.17, 1, 30, 0, 0.36)
A(pfet_10, licon, 0.065, 0.235, 0.17, 0.17, 1, 27, 0, 0.36)
A(pfet_10, licon, 5.365, 0.235, 0.17, 0.17, 1, 27, 0, 0.36)
A(pfet_10, licon, 0.375, 10.28, 0.17, 0.17, 14, 1, 0.36, 0)
R(pfet_10, li1, [(0.065,0.155,0.235,9.845), (5.365,0.155,5.535,9.845), (0.295,10.28,5.305,10.45)])
P(pfet_10, li1, [(-0.745,-0.77),(-0.745,10.81),(-0.445,10.81),(-0.445,-0.47),(6.045,-0.47),(6.045,10.81),(-0.745,10.81),(-0.745,11.11),(6.345,11.11),(6.345,-0.77)])
A(pfet_10, mcon, 0.065, 0.235, 0.17, 0.17, 1, 27, 0, 0.36)
A(pfet_10, mcon, 5.365, 0.235, 0.17, 0.17, 1, 27, 0, 0.36)
A(pfet_10, mcon, 0.375, 10.28, 0.17, 0.17, 14, 1, 0.36, 0)
R(pfet_10, met1, [(0.035,0.175,0.265,9.825), (5.335,0.175,5.565,9.825), (0.315,10.25,5.285,10.48)])
R(pfet_10, hvi, [(-1.21,-1.235,6.81,11.575)])
P(pfet_10, nsdm, [(-0.87,-0.895),(-0.87,10.685),(-0.32,10.685),(-0.32,-0.345),(5.92,-0.345),(5.92,10.685),(-0.87,10.685),(-0.87,11.235),(6.47,11.235),(6.47,-0.895)])
R(pfet_10, psdm, [(-0.125,-0.125,5.725,10.125)])
R(pfet_10, npc, [(0.29,10.19,5.31,10.54)])

nfet_4 = lib.new_cell('nfet$4')
R(nfet_4, diff, [(0,0,1.1,5)])
P(nfet_4, tap, [(-0.745,-0.77),(-0.745,5.81),(-0.445,5.81),(-0.445,-0.47),(1.545,-0.47),(1.545,5.81),(-0.745,5.81),(-0.745,6.11),(1.845,6.11),(1.845,-0.77)])
R(nfet_4, poly, [(0.3,-0.2,0.8,5.2), (0.3,5.2,0.8,5.53)])
A(nfet_4, licon, -0.075, -0.705, 0.17, 0.17, 4, 2, 0.36, 6.58)
A(nfet_4, licon, -0.68, -0.115, 0.17, 0.17, 1, 16, 0, 0.36)
A(nfet_4, licon, 1.61, -0.115, 0.17, 0.17, 1, 16, 0, 0.36)
A(nfet_4, licon, 0.065, 0.255, 0.17, 0.17, 1, 13, 0, 0.36)
A(nfet_4, licon, 0.865, 0.255, 0.17, 0.17, 1, 13, 0, 0.36)
R(nfet_4, licon, [(0.465,5.28,0.635,5.45)])
R(nfet_4, li1, [(0.065,0.175,0.235,4.825), (0.865,0.175,1.035,4.825), (0.385,5.28,0.715,5.45)])
P(nfet_4, li1, [(-0.745,-0.77),(-0.745,5.81),(-0.445,5.81),(-0.445,-0.47),(1.545,-0.47),(1.545,5.81),(-0.745,5.81),(-0.745,6.11),(1.845,6.11),(1.845,-0.77)])
A(nfet_4, mcon, 0.065, 0.255, 0.17, 0.17, 1, 13, 0, 0.36)
A(nfet_4, mcon, 0.865, 0.255, 0.17, 0.17, 1, 13, 0, 0.36)
R(nfet_4, mcon, [(0.465,5.28,0.635,5.45)])
R(nfet_4, met1, [(0.035,0.195,0.265,4.805), (0.835,0.195,1.065,4.805), (0.365,5.25,0.735,5.48)])
R(nfet_4, hvi, [(-0.93,-0.955,2.03,6.295)])
R(nfet_4, nsdm, [(-0.125,-0.125,1.225,5.125)])
P(nfet_4, psdm, [(-0.87,-0.895),(-0.87,5.685),(-0.32,5.685),(-0.32,-0.345),(1.42,-0.345),(1.42,5.685),(-0.87,5.685),(-0.87,6.235),(1.97,6.235),(1.97,-0.895)])
R(nfet_4, npc, [(0.29,5.19,0.81,5.54)])
R(nfet_4, hvntm, [(-0.185,-0.185,1.285,5.185)])

pfet_9 = lib.new_cell('pfet$9')
R(pfet_9, nwell, [(-1.21,-1.235,6.81,2.575)])
R(pfet_9, diff, [(0,0,5.6,1)])
P(pfet_9, tap, [(-0.745,-0.77),(-0.745,1.81),(-0.445,1.81),(-0.445,-0.47),(6.045,-0.47),(6.045,1.81),(-0.745,1.81),(-0.745,2.11),(6.345,2.11),(6.345,-0.77)])
R(pfet_9, poly, [(0.3,-0.2,5.3,1.2), (0.3,1.2,5.3,1.53)])
A(pfet_9, licon, -0.165, -0.705, 0.17, 0.17, 17, 2, 0.36, 2.58)
A(pfet_9, licon, -0.68, -0.135, 0.17, 0.17, 1, 5, 0, 0.36)
A(pfet_9, licon, 6.11, -0.135, 0.17, 0.17, 1, 5, 0, 0.36)
A(pfet_9, licon, 0.375, 1.28, 0.17, 0.17, 14, 1, 0.36, 0)
R(pfet_9, licon, [(0.065,0.235,0.235,0.405), (5.365,0.235,5.535,0.405), (0.065,0.595,0.235,0.765), (5.365,0.595,5.535,0.765)])
R(pfet_9, li1, [(0.065,0.155,0.235,0.845), (5.365,0.155,5.535,0.845), (0.295,1.28,5.305,1.45)])
P(pfet_9, li1, [(-0.745,-0.77),(-0.745,1.81),(-0.445,1.81),(-0.445,-0.47),(6.045,-0.47),(6.045,1.81),(-0.745,1.81),(-0.745,2.11),(6.345,2.11),(6.345,-0.77)])
A(pfet_9, mcon, 0.375, 1.28, 0.17, 0.17, 14, 1, 0.36, 0)
R(pfet_9, mcon, [(0.065,0.235,0.235,0.405), (5.365,0.235,5.535,0.405), (0.065,0.595,0.235,0.765), (5.365,0.595,5.535,0.765)])
R(pfet_9, met1, [(0.035,0.175,0.265,0.825), (5.335,0.175,5.565,0.825), (0.315,1.25,5.285,1.48)])
R(pfet_9, hvi, [(-1.21,-1.235,6.81,2.575)])
P(pfet_9, nsdm, [(-0.87,-0.895),(-0.87,1.685),(-0.32,1.685),(-0.32,-0.345),(5.92,-0.345),(5.92,1.685),(-0.87,1.685),(-0.87,2.235),(6.47,2.235),(6.47,-0.895)])
R(pfet_9, psdm, [(-0.125,-0.125,5.725,1.125)])
R(pfet_9, npc, [(0.29,1.19,5.31,1.54)])

res_poly_1 = lib.new_cell('res_poly$1')
R(res_poly_1, tap, [(-2.075,-15.31,2.075,-15.14), (-2.075,-15.14,-1.905,15.14), (1.905,-15.14,2.075,15.14), (-2.075,15.14,2.075,15.31)])
R(res_poly_1, poly_res, [(-1.425,-12.56,1.425,12.56)])
R(res_poly_1, poly, [(-1.425,-14.66,1.425,14.66)])
A(res_poly_1, licon, -1.445, -15.31, 0.17, 0.17, 9, 2, 0.34, 30.45)
A(res_poly_1, licon, -1.16, -14.58, 0.19, 2, 4, 2, 0.71, 27.16)
A(res_poly_1, licon, -2.075, -14.535, 0.17, 0.17, 1, 86, 0, 0.34)
A(res_poly_1, licon, 1.905, -14.535, 0.17, 0.17, 1, 86, 0, 0.34)
R(res_poly_1, li1, [(-2.075,-15.31,2.075,-15.14), (-2.075,-15.14,-1.905,15.14), (1.905,-15.14,2.075,15.14), (-1.425,-14.66,1.425,-12.5), (-1.425,12.5,1.425,14.66), (-2.075,15.14,2.075,15.31)])
A(res_poly_1, mcon, -1.345, -14.56, 0.17, 0.17, 8, 6, 0.36, 0.36)
A(res_poly_1, mcon, -1.345, 12.595, 0.17, 0.17, 8, 6, 0.36, 0.36)
R(res_poly_1, met1, [(-1.375,-14.63,1.375,-12.525), (-1.375,12.525,1.375,14.63)])
R(res_poly_1, urpm, [(-1.625,-14.86,1.625,14.86)])
R(res_poly_1, psdm, [(-2.2,-15.435,2.2,15.435)])
R(res_poly_1, npc, [(-1.52,-14.755,1.52,14.755)])

sky130_leo_ip__comparato = lib.new_cell('sky130_leo_ip__comparator')
R(sky130_leo_ip__comparato, met1, [(33.69,1.57,34.43,34.57), (0.98,1.645,2.755,10.535), (18.995,1.95,19.645,16.755), (18.655,2.05,19.965,14.705), (6.615,2.18,7.015,8.26), (13.72,2.18,14.12,8.26), (12.51,2.45,13.93,2.765), (9.62,2.465,11.12,2.8), (6.765,2.47,8.23,2.76), (7.86,3.63,9.965,14.745), (10.775,3.63,12.88,14.745), (12.445,14.45,12.835,36.37), (7.965,14.57,8.355,36.37), (9.155,16.64,11.705,41.41), (18.34,17.205,18.57,22.095), (18.995,17.56,20.53,21.68), (30.13,20.17,30.87,49.035), (20.45,20.835,23.625,21.695), (18.34,30.625,18.57,35.515), (18.995,30.98,20.53,35.1), (20.45,34.255,23.625,35.115), (20.775,35.945,21.525,48.46), (21.45,36.705,24.31,37), (20.48,37.465,21.83,48.78), (1.41,38.34,2.06,41.39), (2.69,41.57,4.93,46.54), (1.41,46.7,2.06,48.24), (5.56,46.71,15.21,48.26)])
P(sky130_leo_ip__comparato, met1, [(13.43,35.71),(13.43,36.01),(16.84,36.01),(16.84,48.89),(17.14,48.89),(17.14,35.71)],
  [(15.56,14.635),(15.56,27.845),(18.995,27.845),(18.995,30.19),(19.645,30.19),(19.645,27.195),(16.21,27.195),(16.21,15.285),(19.29,15.285),(19.29,14.635)],
  [(20.955,22.565),(20.955,25.875),(24.825,25.875),(24.825,36.88),(21.15,36.88),(21.15,37.63),(25.575,37.63),(25.575,25.125),(21.705,25.125),(21.705,22.565)],
  [(31.79,24.11),(31.79,26.275),(32.02,26.275),(32.02,24.34),(32.39,24.34),(32.39,24.11)],
  [(33.085,29.39),(33.085,30.41),(32.365,30.41),(32.365,30.64),(33.315,30.64),(33.315,29.39)],
  [(31.94,26.98),(31.94,28.63),(32.17,28.63),(32.17,27.21),(32.485,27.21),(32.485,26.98)],
  [(33.045,27.01),(33.045,27.52),(32.735,27.52),(32.735,27.75),(33.275,27.75),(33.275,27.01)],
  [(1.865,40.425),(1.865,40.925),(3.575,40.925),(3.575,41.825),(4.075,41.825),(4.075,40.425)])
R(sky130_leo_ip__comparato, met2_pin, [(-1.415,13.995,-0.415,14.295), (35.99,20.63,36.99,20.93), (35.99,33.72,36.99,34.02), (-1.415,37.175,-0.415,37.475), (-1.415,38.765,-0.415,39.065)])
R(sky130_leo_ip__comparato, met2, [(9.24,8.725,13.36,8.955), (-0.345,13.895,10.37,14.395), (-1.415,13.995,-0.415,14.295), (-0.415,13.995,-0.27,14.295), (35.99,20.63,36.99,20.93), (32.6,20.67,36.03,20.9), (8.185,33.115,18.365,33.515), (35.99,33.72,36.99,34.02), (32.71,33.76,36.065,33.99), (7.655,35.705,14.23,36.005), (-0.255,37.07,8.67,37.57), (-1.415,37.175,-0.415,37.475), (-0.415,37.205,-0.155,37.445), (-1.415,38.765,-0.415,39.065), (-0.415,38.8,-0.09,39.035)])
P(sky130_leo_ip__comparato, met2, [(14.7,19.57),(14.7,20.245),(12.5,20.245),(12.5,20.545),(15,20.545),(15,19.87),(18.44,19.87),(18.44,19.57)],
  [(11.915,37.555),(11.915,38.66),(-0.16,38.66),(-0.16,39.16),(12.415,39.16),(12.415,37.555)],
  [(7.295,8.815),(7.295,9.52),(11.42,9.52),(11.42,9.29),(7.525,9.29),(7.525,8.815)],
  [(27.31,29.375),(27.31,32.865),(19.8,32.865),(19.8,33.095),(27.54,33.095),(27.54,29.605),(32.67,29.605),(32.67,29.375)],
  [(19.82,19.4),(19.82,19.63),(27.27,19.63),(27.27,25.67),(32.59,25.67),(32.59,25.44),(27.5,25.44),(27.5,19.4)])
R(sky130_leo_ip__comparato, met3_pin, [(0,0,35,2.5), (0,48.065,35,50.565)])
R(sky130_leo_ip__comparato, hvi, [(6.88,14.75,13.92,15.27)])
R(sky130_leo_ip__comparato, psdm, [(8.9,2.56,8.95,9.69), (11.79,2.56,11.84,9.69)])
sky130_leo_ip__comparato.add(gdstk.Reference(sky130_fd_sc_hvl__nand2_, (34.315,27.37), rotation=pi/2))
sky130_leo_ip__comparato.add(gdstk.Reference(sky130_fd_sc_hvl__nand2_, (34.315,24.97), rotation=pi/2))
sky130_leo_ip__comparato.add(gdstk.Reference(sky130_fd_sc_hvl__buf_4_, (34.315,20.17), rotation=pi/2))
sky130_leo_ip__comparato.add(gdstk.Reference(sky130_fd_sc_hvl__buf_4, (34.315,34.57), rotation=3*pi/2, x_reflection=True))
sky130_leo_ip__comparato.add(gdstk.Reference(vias_gen_17, (0.37,8.58)))
sky130_leo_ip__comparato.add(gdstk.Reference(vias_gen_16, (13.16,34.13)))
sky130_leo_ip__comparato.add(gdstk.Reference(vias_gen_16, (7.35,34.13)))
sky130_leo_ip__comparato.add(gdstk.Reference(vias_gen_10, (18.275,15.89)))
sky130_leo_ip__comparato.add(gdstk.Reference(vias_gen_10, (18.275,29.31)))
sky130_leo_ip__comparato.add(gdstk.Reference(vias_gen_15, (18.275,23.105)))
sky130_leo_ip__comparato.add(gdstk.Reference(vias_gen_15, (18.275,36.525)))
sky130_leo_ip__comparato.add(gdstk.Reference(vias_gen_14, (9.62,2.705)))
sky130_leo_ip__comparato.add(gdstk.Reference(vias_gen_14, (12.51,2.705)))
sky130_leo_ip__comparato.add(gdstk.Reference(vias_gen_14, (6.73,2.705)))
sky130_leo_ip__comparato.add(gdstk.Reference(vias_gen_12, (4.84,47.32)))
sky130_leo_ip__comparato.add(gdstk.Reference(vias_gen_10, (1.03,47.32)))
sky130_leo_ip__comparato.add(gdstk.Reference(vias_gen, (32.22,30.41)))
sky130_leo_ip__comparato.add(gdstk.Reference(vias_gen_9, (32.49,20.155)))
sky130_leo_ip__comparato.add(gdstk.Reference(vias_gen_9, (32.485,33.54)))
sky130_leo_ip__comparato.add(gdstk.Reference(vias_gen_7, (33.035,29.255)))
sky130_leo_ip__comparato.add(gdstk.Reference(vias_gen_7, (31.745,26.185)))
sky130_leo_ip__comparato.add(gdstk.Reference(vias_gen, (32.215,24.11)))
sky130_leo_ip__comparato.add(gdstk.Reference(vias_gen_4, (32.42,25.425)))
sky130_leo_ip__comparato.add(gdstk.Reference(vias_gen_4, (32.465,29.365)))
sky130_leo_ip__comparato.add(gdstk.Reference(vias_gen, (31.91,28.6)))
sky130_leo_ip__comparato.add(gdstk.Reference(vias_gen_2, (7.335,35.695)))
sky130_leo_ip__comparato.add(gdstk.Reference(vias_gen_2, (14.14,35.705)))
sky130_leo_ip__comparato.add(gdstk.Reference(vias_gen, (32.485,26.98)))
sky130_leo_ip__comparato.add(gdstk.Reference(vias_gen, (33.015,26.88)))
sky130_leo_ip__comparato.add(gdstk.Reference(vias_gen_3, (8.48,36.795)))
sky130_leo_ip__comparato.add(gdstk.Reference(vias_gen_3, (12.005,36.76)))
sky130_leo_ip__comparato.add(gdstk.Reference(vias_gen_5, (19.295,19.04)))
sky130_leo_ip__comparato.add(gdstk.Reference(vias_gen_5, (19.34,32.495)))
sky130_leo_ip__comparato.add(gdstk.Reference(vias_gen, (32.445,27.52)))
sky130_leo_ip__comparato.add(gdstk.Reference(vias_gen_3, (18.29,19.195)))
sky130_leo_ip__comparato.add(gdstk.Reference(vias_gen_3, (12.48,19.9)))
sky130_leo_ip__comparato.add(gdstk.Reference(vias_gen_3, (10.21,13.66)))
sky130_leo_ip__comparato.add(gdstk.Reference(vias_gen_2, (11.27,9.24)))
sky130_leo_ip__comparato.add(gdstk.Reference(vias_gen_2, (9.08,8.68)))
sky130_leo_ip__comparato.add(gdstk.Reference(vias_gen_2, (13.17,8.66)))
sky130_leo_ip__comparato.add(gdstk.Reference(vias_gen_2, (7.25,8.66)))
sky130_leo_ip__comparato.add(gdstk.Reference(vias_gen_8, (0,0)))
sky130_leo_ip__comparato.add(gdstk.Reference(vias_gen_8, (0,48.065)))
sky130_leo_ip__comparato.add(gdstk.Reference(pfet, (8.09,16.46)))
sky130_leo_ip__comparato.add(gdstk.Reference(nfet_5, (19.82,30.035), rotation=pi/2))
sky130_leo_ip__comparato.add(gdstk.Reference(pfet_5, (23.82,34.96), rotation=pi/2))
sky130_leo_ip__comparato.add(gdstk.Reference(nfet_5, (19.82,16.615), rotation=pi/2))
sky130_leo_ip__comparato.add(gdstk.Reference(pfet_5, (23.82,21.54), rotation=pi/2))
sky130_leo_ip__comparato.add(gdstk.Reference(nfet, (9.82,3.455)))
sky130_leo_ip__comparato.add(gdstk.Reference(pfet, (11.61,16.46)))
sky130_leo_ip__comparato.add(gdstk.Reference(pfet_10, (15.385,41.255), rotation=pi/2))
sky130_leo_ip__comparato.add(gdstk.Reference(nfet_4, (12.71,3.455)))
sky130_leo_ip__comparato.add(gdstk.Reference(pfet_9, (1.235,46.855), rotation=3*pi/2))
sky130_leo_ip__comparato.add(gdstk.Reference(nfet_4, (6.93,3.455)))
sky130_leo_ip__comparato.add(gdstk.Reference(res_poly_1, (1.845,23.935)))
sky130_leo_ip__comparato.add(gdstk.Reference(vias_gen_3, (8,32.845)))
sky130_leo_ip__comparato.add(gdstk.Reference(vias_gen_3, (18.285,32.845)))
sky130_leo_ip__comparato.add(gdstk.Label('COMP_P', (15.355,33.32), layer=68, texttype=5))
sky130_leo_ip__comparato.add(gdstk.Label('CLK', (-0.975,14.14), layer=69, texttype=5))
sky130_leo_ip__comparato.add(gdstk.Label('IN_P', (-0.955,38.94), layer=69, texttype=5))
sky130_leo_ip__comparato.add(gdstk.Label('IN_N', (-0.945,37.295), layer=69, texttype=5))
sky130_leo_ip__comparato.add(gdstk.Label('OUT_P', (36.48,33.87), layer=69, texttype=5))
sky130_leo_ip__comparato.add(gdstk.Label('OUT_N', (36.47,20.78), layer=69, texttype=5))
sky130_leo_ip__comparato.add(gdstk.Label('SR_set', (21.94,19.545), layer=69, texttype=5))
sky130_leo_ip__comparato.add(gdstk.Label('SR_reset', (22.365,32.95), layer=69, texttype=5))
sky130_leo_ip__comparato.add(gdstk.Label('COMP_N', (14.845,19.885), layer=69, texttype=5))
sky130_leo_ip__comparato.add(gdstk.Label('VSS', (18.185,1.405), layer=70, texttype=5))
sky130_leo_ip__comparato.add(gdstk.Label('VDD', (17.475,49.51), layer=70, texttype=5))

lib.write_gds('sky130_leo_ip__comparator.gds')
